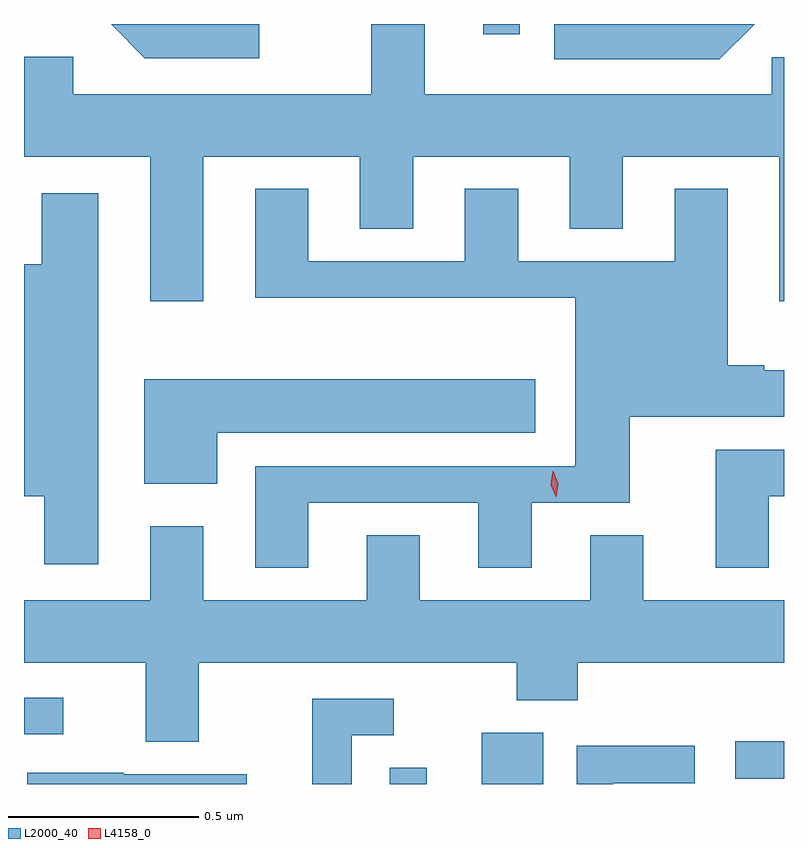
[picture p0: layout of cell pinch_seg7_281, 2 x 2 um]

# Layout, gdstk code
import gdstk
lib = gdstk.Library(unit=1e-6, precision=1e-09)
def R(c, l, rs):  # rectangles x0, y0, x1, y1
    for r in rs: c.add(gdstk.rectangle(r[:2], r[2:], *l))
def P(c, l, *ps):  # polygons
    for p in ps: c.add(gdstk.Polygon(p, *l))
L2000_40 = (2000, 40)
L4158_0 = (4158, 0)

pinch_seg7_281 = lib.new_cell('pinch_seg7_281')
R(pinch_seg7_281, L2000_40, [(795.378,1040.257,795.475,1040.3), (795.62,1040.257,795.781,1040.392), (796.287,1040.271,796.415,1040.369), (794.415,1040.388,794.518,1040.484), (795.623,1042.23,795.719,1042.257)])
P(pinch_seg7_281, L2000_40, [(796.338,1042.257),(795.81,1042.257),(795.81,1042.164),(796.245,1042.164)],
  [(795.034,1042.257),(794.644,1042.257),(794.733,1042.167),(795.034,1042.167)],
  [(794.887,1041.908),(795.299,1041.908),(795.299,1041.718),(795.439,1041.718),(795.439,1041.908),(795.851,1041.908),(795.851,1041.718),(795.991,1041.718),(795.991,1041.908),(796.403,1041.908),(796.403,1041.528),(796.415,1041.528),(796.415,1042.17),(796.383,1042.17),(796.383,1042.072),(795.469,1042.072),(795.469,1042.257),(795.329,1042.257),(795.329,1042.072),(794.545,1042.072),(794.545,1042.171),(794.415,1042.171),(794.415,1041.908),(794.747,1041.908),(794.747,1041.528),(794.887,1041.528)],
  [(795.163,1040.997),(795.611,1040.997),(795.611,1040.826),(795.751,1040.826),(795.751,1040.997),(796.009,1040.997),(796.009,1041.224),(796.415,1041.224),(796.415,1041.346),(796.363,1041.346),(796.363,1041.359),(796.267,1041.359),(796.267,1041.823),(796.127,1041.823),(796.127,1041.633),(795.715,1041.633),(795.715,1041.823),(795.575,1041.823),(795.575,1041.633),(795.163,1041.633),(795.163,1041.823),(795.023,1041.823),(795.023,1041.536),(795.866,1041.536),(795.866,1041.093),(795.023,1041.093),(795.023,1040.826),(795.163,1040.826)],
  [(794.611,1041.811),(794.462,1041.811),(794.462,1041.625),(794.415,1041.625),(794.415,1041.014),(794.468,1041.014),(794.468,1040.835),(794.611,1040.835)],
  [(794.923,1041.182),(795.76,1041.182),(795.76,1041.322),(794.732,1041.322),(794.732,1041.047),(794.923,1041.047)],
  [(796.375,1041.014),(796.415,1041.014),(796.415,1041.136),(796.235,1041.136),(796.235,1040.826),(796.375,1040.826)],
  [(794.875,1040.576),(795.712,1040.576),(795.712,1040.477),(795.872,1040.477),(795.872,1040.576),(796.415,1040.576),(796.415,1040.74),(796.045,1040.74),(796.045,1040.912),(795.905,1040.912),(795.905,1040.74),(795.457,1040.74),(795.457,1040.912),(795.317,1040.912),(795.317,1040.74),(794.887,1040.74),(794.887,1040.935),(794.747,1040.935),(794.747,1040.74),(794.415,1040.74),(794.415,1040.576),(794.735,1040.576),(794.735,1040.368),(794.875,1040.368)],
  [(795.277,1040.385),(795.388,1040.385),(795.388,1040.481),(795.173,1040.481),(795.173,1040.257),(795.277,1040.257)],
  [(795.966,1040.259),(796.18,1040.259),(796.18,1040.358),(795.87,1040.358),(795.87,1040.257),(795.966,1040.257)],
  [(795.001,1040.283),(794.677,1040.283),(794.677,1040.287),(794.423,1040.287),(794.423,1040.257),(795.001,1040.257)])
P(pinch_seg7_281, L4158_0, [(795.815,1041.011),(795.815,1041.011),(795.801,1041.044),(795.807,1041.08),(795.807,1041.08),(795.808,1041.08),(795.821,1041.047),(795.815,1041.011)])

lib.write_gds('pinch_seg7_281.gds')
